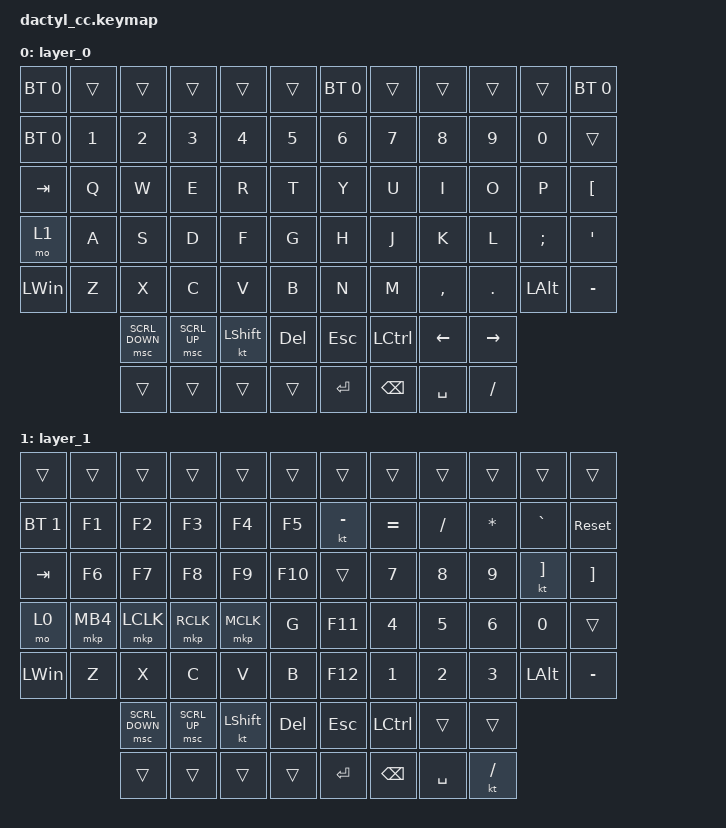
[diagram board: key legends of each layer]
#include <behaviors.dtsi>
#include <dt-bindings/zmk/bt.h>
#include <dt-bindings/zmk/keys.h>
#include <dt-bindings/zmk/keys.h>
#include <dt-bindings/zmk/pointing.h>
#include <dt-bindings/zmk/pointing.h>

//  ###########################################################
//  ###########        WORKING 2024/03/23       ###############
//  ###########################################################
// #############            LAYERS            #################

#define SYM_L   1
#define NAV_L   2
#define NAV2_L  3

//#define OTHER_L 4

#define DEFAULT 0
#define LOWER   1
#define RAISE   2
#define SYMBOL  3

// Desktop and tab navigation shortcuts		

#define DESKTOP_LT   LC(LG(LEFT))
#define DESKTOP_RT   LC(LG(RIGHT))
#define WINDOW_LT    LA(LS(TAB))
#define WINDOW_RT    LA(TAB)
#define TAB_LT       LC(LS(TAB))
#define TAB_RT       LC(TAB)

// NOT USED  &kp LG(LC(LEFT))  &kp LG(LC(RIGHT))
// Generic bindings

#define KILL_WINDOW  LA(F4)
#define MAXIMIZE     LG(UP)
#define MINIMIZE     LG(DOWN)
#define UN_MINIMIZE  LG(LC(N))

&mt {
    flavor = "hold-preferred";
    tapping-term-ms = <500>;
};

&lt {
    flavor = "balanced";
    tapping-term-ms = <150>;
};

&sl { release-after-ms = <2000>; };

/ {
    conditional_layers {
        compatible = "zmk,conditional-layers";

        tri_layer {
            if-layers = <0 0>;
            then-layer = <4>;
        };
    };

    macros {
        ZMK_MACRO(inv_qm,

        wait-ms = <10>;
        tap-ms = <10>;
        bindings =
            <&macro_press &kp LALT>,
            <&macro_tap &kp KP_N1 &kp KP_N6 &kp KP_N8>,
            <&macro_release &kp LALT>;

        )
    };

    behaviors {
        //   td_mt_ls: tap_dance_mod_tap {
        //       compatible = "zmk,behavior-tap-dance";
        //       label = "TAP_DANCE_LSHIFT";
        //       #binding-cells = <0>;
        //       tapping-term-ms = <200>;
        //       bindings = <&mt LSHIFT CAPSLOCK>, <&kp LCTRL>;
        //   };
        //   td_mt_rs: tap_dance_mod_tap {
        //       compatible = "zmk,behavior-tap-dance";
        //       label = "TAP_DANCE_RSHIFT";
        //       #binding-cells = <0>;
        //       tapping-term-ms = <200>;
        //       bindings = <&mt RSHIFT CAPSLOCK>, <&kp RCTRL>;
        //   };            
    };

    keymap {
        compatible = "zmk,keymap";

        layer_0 {
            bindings = <
&bt BT_SEL 0  &trans        &trans          &trans        &trans          &trans          &bt BT_SEL 0  &trans            &trans        &trans        &trans         &bt BT_SEL 0
&bt BT_SEL 0  &kp NUMBER_1  &kp NUMBER_2    &kp NUMBER_3  &kp NUMBER_4    &kp NUMBER_5    &kp NUMBER_6  &kp NUMBER_7      &kp NUMBER_8  &kp NUMBER_9  &kp NUMBER_0   &trans
&kp TAB       &kp Q         &kp W           &kp E         &kp R           &kp T           &kp Y         &kp U             &kp I         &kp O         &kp P          &kp LEFT_BRACKET
&mo 1         &kp A         &kp S           &kp D         &kp F           &kp G           &kp H         &kp J             &kp K         &kp L         &kp SEMICOLON  &kp SQT
&kp LEFT_WIN  &kp Z         &kp X           &kp C         &kp V           &kp B           &kp N         &kp M             &kp COMMA     &kp PERIOD    &kp LEFT_ALT   &kp MINUS
                            &msc SCRL_DOWN  &msc SCRL_UP  &kt LEFT_SHIFT  &kp DELETE      &kp ESCAPE    &kp LEFT_CONTROL  &kp LEFT      &kp RIGHT
                            &trans          &trans        &trans          &trans          &kp ENTER     &kp BACKSPACE     &kp SPACE     &kp SLASH
            >;
        };

        layer_1 {
            bindings = <
&trans        &trans    &trans          &trans        &trans          &trans        &trans      &trans            &trans        &trans        &trans             &trans
&bt BT_SEL 1  &kp F1    &kp F2          &kp F3        &kp F4          &kp F5        &kt MINUS   &kp EQUAL         &kp SLASH     &kp ASTERISK  &kp GRAVE          &sys_reset
&kp TAB       &kp F6    &kp F7          &kp F8        &kp F9          &kp F10       &trans      &kp NUMBER_7      &kp N8        &kp NUMBER_9  &kt RIGHT_BRACKET  &kp RIGHT_BRACKET
&mo 0         &mkp MB4  &mkp LCLK       &mkp RCLK     &mkp MCLK       &kp G         &kp F11     &kp NUMBER_4      &kp NUMBER_5  &kp NUMBER_6  &kp NUMBER_0       &trans
&kp LEFT_WIN  &kp Z     &kp X           &kp C         &kp V           &kp B         &kp F12     &kp NUMBER_1      &kp NUMBER_2  &kp NUMBER_3  &kp LEFT_ALT       &kp MINUS
                        &msc SCRL_DOWN  &msc SCRL_UP  &kt LEFT_SHIFT  &kp DELETE    &kp ESCAPE  &kp LEFT_CONTROL  &trans        &trans
                        &trans          &trans        &trans          &trans        &kp ENTER   &kp BACKSPACE     &kp SPACE     &kt SLASH
            >;
        };
    };
};
